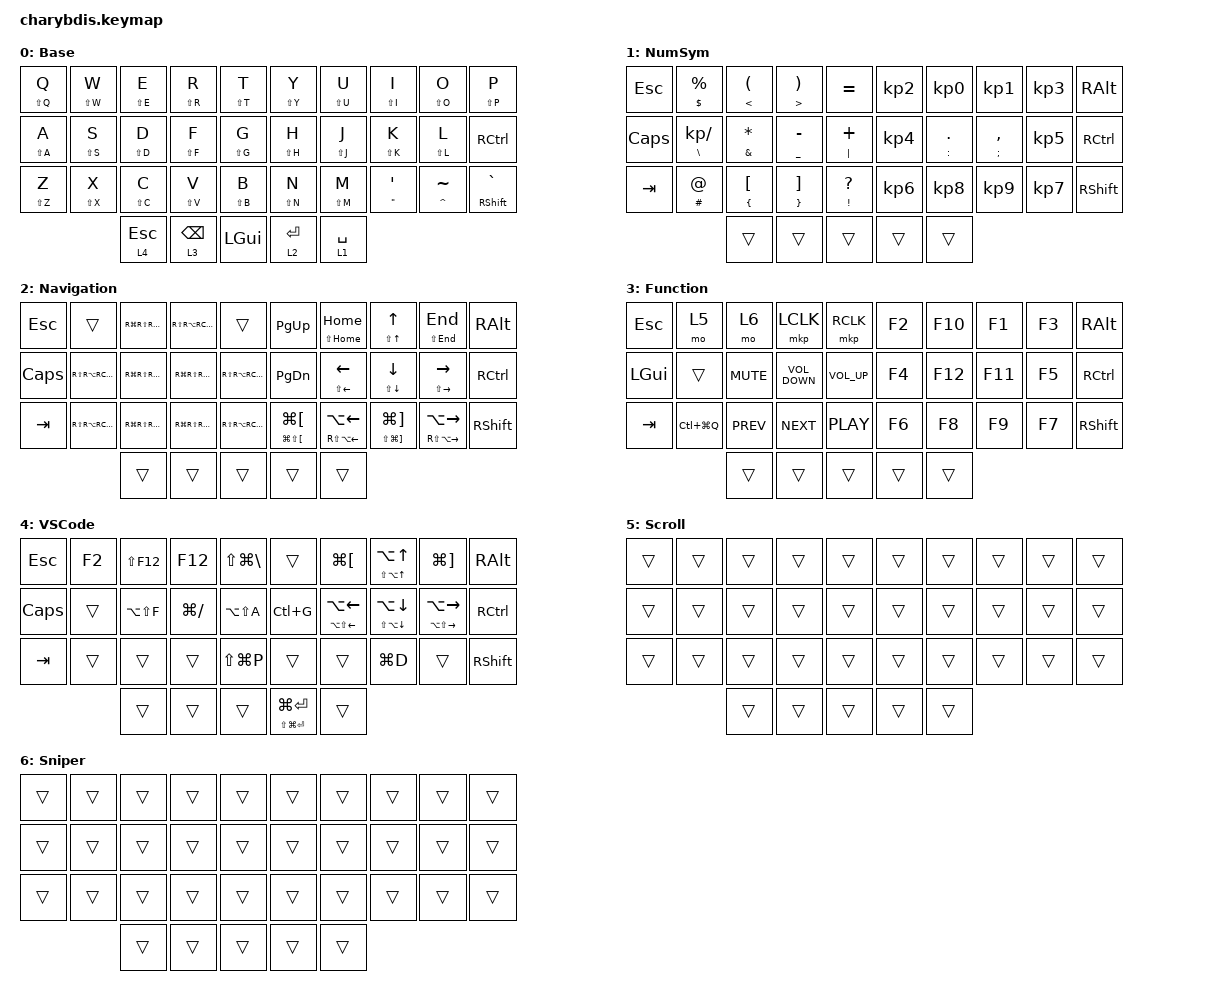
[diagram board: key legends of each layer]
#include <dt-bindings/zmk/mouse.h>
#include <behaviors/mouse_keys.dtsi>
#include <behaviors.dtsi>
#include <dt-bindings/zmk/keys.h>
#include <dt-bindings/zmk/bt.h>

/ {
    chosen { zmk,matrix_transform = &five_column_transform; };

    behaviors {
        ht: hold_tap {
            compatible = "zmk,behavior-hold-tap";
            #binding-cells = <2>;
            flavor = "tap-preferred";
            tapping-term-ms = <220>;
            quick-tap-ms = <150>;
            require-prior-idle-ms = <100>;
            bindings = <&kp>, <&kp>;
        };
    };

    combos {
        compatible = "zmk,combos";

        combo_lt {
            bindings = <&kp LESS_THAN>;
            key-positions = <3 1>;
            layers = <1>;
        };

        combo_gt {
            bindings = <&kp GREATER_THAN>;
            key-positions = <3 2>;
            layers = <1>;
        };

        combo_and {
            bindings = <&kp AMPERSAND>;
            key-positions = <12 13>;
            layers = <1>;
        };

        combo_or {
            bindings = <&kp PIPE>;
            key-positions = <13 11>;
            layers = <1>;
        };

        combo_exc {
            bindings = <&kp EXCLAMATION>;
            key-positions = <23 24>;
            layers = <1>;
        };

        combo_colon {
            bindings = <&kp COLON>;
            key-positions = <16 17>;
            layers = <1>;
        };

        combo_end {
            bindings = <&kp END>;
            key-positions = <6 8>;
            layers = <1>;
        };

        combo_quote {
            bindings = <&kp DOUBLE_QUOTES>;
            key-positions = <26 27>;
            layers = <0>;
        };

        combo_under {
            bindings = <&kp UNDERSCORE>;
            key-positions = <13 14>;
            layers = <1>;
        };

        combo_copy {
            bindings = <&kp LG(C)>;
            key-positions = <2 3>;
            layers = <3>;
        };

        combo_cut {
            bindings = <&kp LG(X)>;
            key-positions = <12 13>;
            layers = <3>;
        };

        combo_paste {
            bindings = <&kp LG(V)>;
            key-positions = <11 13>;
            layers = <3>;
        };

        combo_enter {
            bindings = <&kp ENTER>;
            key-positions = <26 28>;
            layers = <1>;
        };

        combo_undo {
            bindings = <&kp LG(Z)>;
            key-positions = <23 21>;
            layers = <3>;
        };

        combo_space {
            bindings = <&kp SPACE>;
            key-positions = <16 18>;
            layers = <1>;
        };

        combo_cut_line {
            bindings = <&macro_cut_line>;
            key-positions = <23 22>;
            layers = <3>;
        };

        combo_rbrace {
            bindings = <&kp RIGHT_BRACE>;
            key-positions = <23 22>;
            layers = <1>;
        };

        combo_lbrace {
            bindings = <&kp LEFT_BRACE>;
            key-positions = <21 23>;
            layers = <1>;
        };

        combo_save {
            bindings = <&kp LG(S)>;
            key-positions = <3 1>;
            layers = <3>;
        };

        combo_left {
            bindings = <&kp LEFT>;
            key-positions = <6 7>;
            layers = <1>;
        };

        combo_tab {
            bindings = <&kp TAB>;
            key-positions = <26 27>;
            layers = <1>;
        };
    };

    macros {
        macro_cut_line: macro_select_line {
            compatible = "zmk,behavior-macro";
            #binding-cells = <0>;
            bindings = <&kp END &kp HOME &kp HOME &kp LS(DOWN) &kp LG(X)>;
            label = "MACRO_SELECT_LINE";
        };
    };

    keymap {
        compatible = "zmk,keymap";

        Base {
            bindings = <
  &ht LS(Q) Q  &ht LS(W) W  &ht LS(E) E  &ht LS(R) R      &ht LS(T) T    &ht LS(Y) Y  &ht LS(U) U  &ht LS(I) I                     &ht LS(O) O      &ht LS(P) P
  &ht LS(A) A  &ht LS(S) S  &ht LS(D) D  &ht LS(F) F      &ht LS(G) G    &ht LS(H) H  &ht LS(J) J  &ht LS(K) K                     &ht LS(L) L      &kp RCTRL
  &ht LS(Z) Z  &ht LS(X) X  &ht LS(C) C  &ht LS(V) V      &ht LS(B) B    &ht LS(N) N  &ht LS(M) M  &ht DOUBLE_QUOTES SINGLE_QUOTE  &ht CARET TILDE  &ht RSHFT GRAVE
                            &lt 4 ESC    &lt 3 BACKSPACE  &kp LGUI       &lt 2 ENTER  &lt 1 SPACE
            >;
        };

        NumSym {
            bindings = <
  &kp ESC       &ht DOLLAR PERCENT       &ht LESS_THAN LEFT_PARENTHESIS  &ht GREATER_THAN RIGHT_PARENTHESIS  &kp EQUAL                   &kp KP_N2  &kp KP_NUMBER_0   &kp KP_N1            &kp KP_N3  &kp RALT
  &kp CAPSLOCK  &ht BACKSLASH KP_DIVIDE  &ht AMPERSAND ASTERISK          &ht UNDERSCORE MINUS                &ht PIPE PLUS               &kp KP_N4  &ht COLON PERIOD  &ht SEMICOLON COMMA  &kp KP_N5  &kp RCTRL
  &kp TAB       &ht HASH AT_SIGN         &ht LEFT_BRACE LEFT_BRACKET     &ht RIGHT_BRACE RIGHT_BRACKET       &ht EXCLAMATION QUESTION    &kp KP_N6  &kp KP_N8         &kp KP_N9            &kp KP_N7  &kp RSHFT
                                         &trans                          &trans                              &trans                      &trans     &trans
            >;
        };

        Navigation {
            bindings = <
  &kp ESC   &trans                 &kp RG(RS(RA(RC(B))))  &kp RS(RA(RC(RG(Y))))  &trans                   &kp PG_UP                                  &ht LS(HOME) HOME          &ht LS(UP_ARROW) UP_ARROW                    &ht LS(END) END              &kp RIGHT_ALT
  &kp CAPS  &kp RS(RA(RC(RG(A))))  &kp RG(RS(RA(RC(T))))  &kp RG(RS(RA(RC(V))))  &kp RS(RA(RC(RG(F))))    &kp PAGE_DOWN                              &ht LS(LEFT) LEFT          &ht LS(DOWN) DOWN                            &ht LS(RIGHT) RIGHT          &kp RCTRL
  &kp TAB   &kp RS(RA(RC(RG(X))))  &kp RG(RS(RA(RC(S))))  &kp RG(RS(RA(RC(C))))  &kp RS(RA(RC(RG(M))))    &ht LG(LS(LEFT_BRACKET)) LG(LEFT_BRACKET)  &ht RS(LA(LEFT)) LA(LEFT)  &ht LS(LG(RIGHT_BRACKET)) LG(RIGHT_BRACKET)  &ht RS(LA(RIGHT)) LA(RIGHT)  &kp RSHFT
                                   &trans                 &trans                 &trans                   &trans                                     &trans
            >;
        };

        Function {
            bindings = <
  &kp ESC       &mo 5          &mo 6       &mkp LCLK          &mkp RCLK          &kp F2  &kp F10  &kp F1   &kp F3  &kp RALT
  &kp LEFT_GUI  &trans         &kp K_MUTE  &kp C_VOLUME_DOWN  &kp C_VOLUME_UP    &kp F4  &kp F12  &kp F11  &kp F5  &kp RCTRL
  &kp TAB       &kp LC(LG(Q))  &kp C_PREV  &kp C_NEXT         &kp C_PLAY         &kp F6  &kp F8   &kp F9   &kp F7  &kp RSHFT
                               &trans      &trans             &trans             &trans  &trans
            >;
        };

        VSCode {
            bindings = <
  &kp ESC   &kp F2  &kp LS(F12)    &kp F12       &kp LS(LG(BACKSLASH))    &trans                       &kp LG(LEFT_BRACKET)             &ht LS(LA(UP_ARROW)) LA(UP_ARROW)  &kp LG(RIGHT_BRACKET)        &kp RALT
  &kp CAPS  &trans  &kp LA(LS(F))  &kp LG(FSLH)  &kp LA(LS(A))            &kp LC(G)                    &ht LA(LS(LEFT_ARROW)) LA(LEFT)  &ht LS(LA(DOWN_ARROW)) LA(DOWN)    &ht LA(LS(RIGHT)) LA(RIGHT)  &kp RCTRL
  &kp TAB   &trans  &trans         &trans        &kp LS(LG(P))            &trans                       &trans                           &kp LG(D)                          &trans                       &kp RSHFT
                    &trans         &trans        &trans                   &ht LS(LG(ENTER)) LG(ENTER)  &trans
            >;
        };

        Scroll {
            label = "Scroll";
            bindings = <
  &trans  &trans  &trans  &trans  &trans    &trans  &trans  &trans  &trans  &trans
  &trans  &trans  &trans  &trans  &trans    &trans  &trans  &trans  &trans  &trans
  &trans  &trans  &trans  &trans  &trans    &trans  &trans  &trans  &trans  &trans
                  &trans  &trans  &trans    &trans  &trans
            >;
        };

        Sniper {
            label = "Sniper";
            bindings = <
  &trans  &trans  &trans  &trans  &trans    &trans  &trans  &trans  &trans  &trans
  &trans  &trans  &trans  &trans  &trans    &trans  &trans  &trans  &trans  &trans
  &trans  &trans  &trans  &trans  &trans    &trans  &trans  &trans  &trans  &trans
                  &trans  &trans  &trans    &trans  &trans
            >;
        };
    };
};
